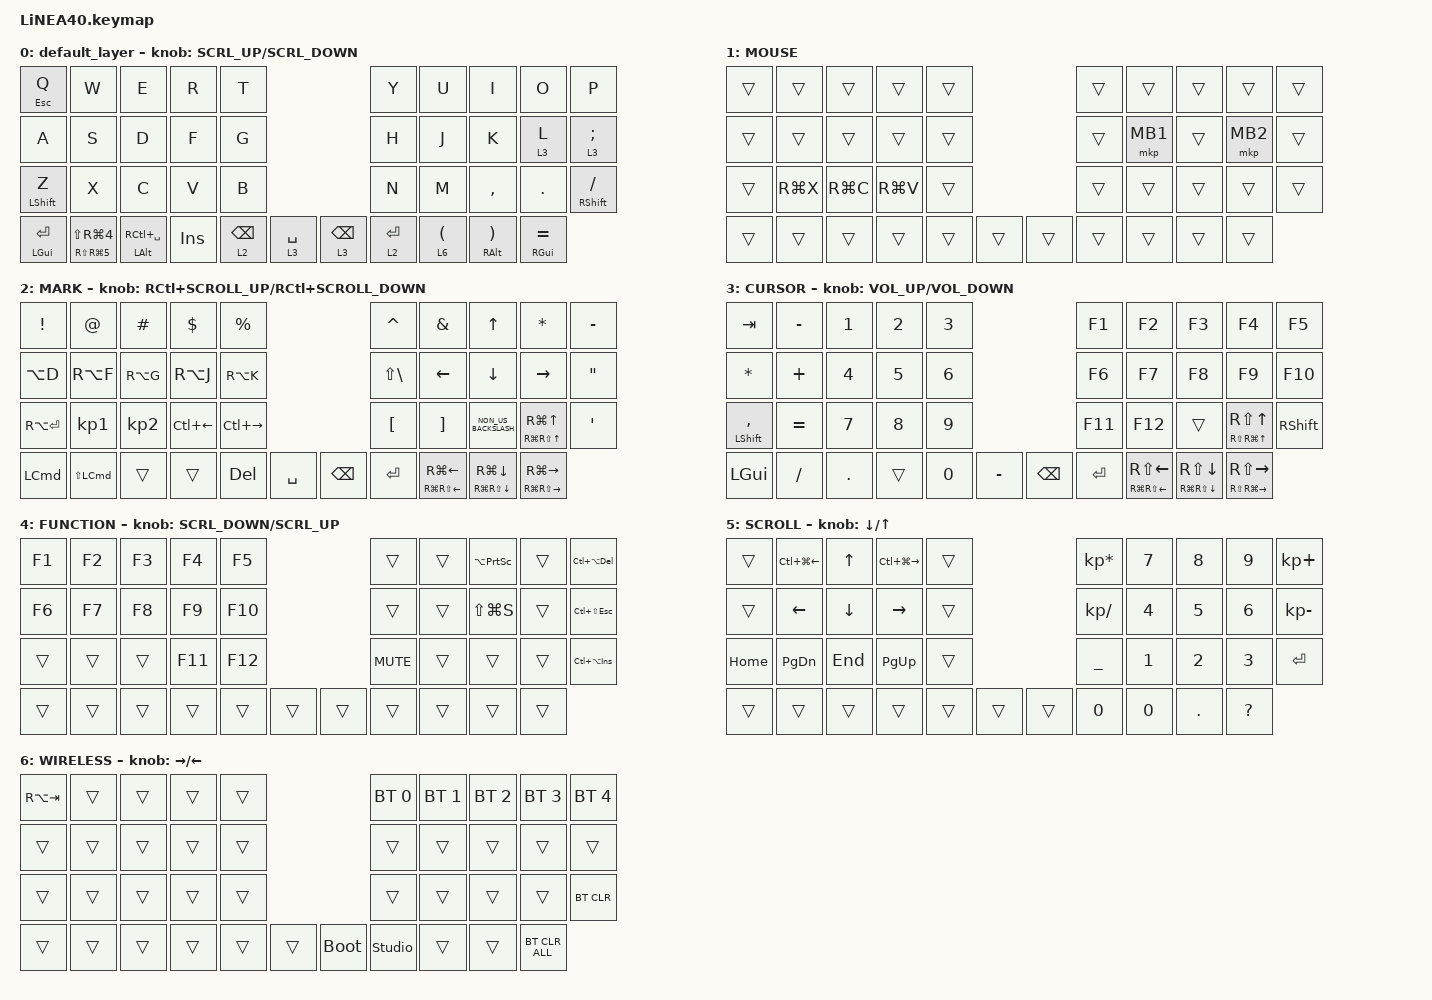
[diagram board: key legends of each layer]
#define ZMK_POINTING_DEFAULT_SCRL_VAL 150

#include <dt-bindings/zmk/input_transform.h>
#include <input/processors.dtsi>
#include <zephyr/dt-bindings/input/input-event-codes.h>
#include <behaviors.dtsi>
#include <dt-bindings/zmk/bt.h>
#include <dt-bindings/zmk/keys.h>
#include <dt-bindings/zmk/pointing.h>

#define MOUSE 1
#define MARK 2
#define CURSOR 3
#define FUNCTION 4
#define SCROLL 5
#define WIRELESS 6

//mouse cursol

&mmv {
    delay-ms = <20>;
    trigger-period-ms = <5>;
    time-to-max-speed-ms = <100>;
    acceleration-exponent = <2>;
};

//mouse scroll

&msc {
    delay-ms = <3>;
    trigger-period-ms = <3>;
    time-to-max-speed-ms = <100>;
    acceleration-exponent = <0>;
};

&mt {
    tapping-term-ms = <180>;
    flavor = "tap-preferred";
};

/ {
    input_processors {
        zip_wheel_scaler: zip_wheel_scaler {
            compatible = "zmk,input-processor-scaler";
            #input-processor-cells = <2>;
            type = <INPUT_EV_REL>;
            codes = <INPUT_REL_WHEEL>;
            track-remainders;
        };
    };
};

&msc_input_listener {
    speed_up {
        layers = <FUNCTION>;
        input-processors = <&zip_wheel_scaler 3 1>; //スクロールを3倍速にする
    };
};

&trackball_listener {
    cursor_scroller {
        layers = <CURSOR>;
        input-processors =
            <&zip_xy_transform INPUT_TRANSFORM_Y_INVERT>,
            <&zip_xy_to_scroll_mapper>;
    };

    function_scroller {
        layers = <FUNCTION>;
        input-processors = <&zip_xy_to_scroll_mapper>;
    };

    scroller {
        layers = <SCROLL>;
        input-processors =
            <&zip_xy_transform INPUT_TRANSFORM_Y_INVERT>,
            //スクロール方向を逆転,,,,,,,,,,,,,,,,,,,,,,,,,,,,,,,,,,,,,,,,,
            <&zip_xy_to_scroll_mapper>;
    };
};

/ {
    combos {
        compatible = "zmk,combos";

        leftClick {
            bindings = <&mkp MB1>;
            key-positions = <17 16>;
        };

        Center {
            bindings = <&kp LC(UP_ARROW)>;
            key-positions = <6 7>;
        };

        rightClick {
            bindings = <&mkp MB2>;
            key-positions = <17 18>;
        };

        bar {
            bindings = <&kp MINUS>;
            key-positions = <8 9>;
        };

        voiceCommand {
            bindings = <&kp F13>;
            key-positions = <13 12>;
        };

        esc {
            bindings = <&kp ESCAPE>;
            key-positions = <0 1>;
        };

        ctrl_space {
            bindings = <&kp LC(SPACE)>;
            key-positions = <13 34>;
        };

        cmd_space {
            bindings = <&kp RG(SPACE)>;
            key-positions = <13 35>;
        };

        N_Voice_Command {
            bindings = <&kp RG(LC(C_VOICE_COMMAND))>;
            key-positions = <34 23>;
        };

        tab {
            bindings = <&kp TAB>;
            key-positions = <10 11>;
        };

        back {
            bindings = <&mkp MB4>;
            key-positions = <15 16>;
        };

        next {
            bindings = <&mkp MB5>;
            key-positions = <5 6>;
        };

        Copy {
            bindings = <&kp RG(C)>;
            key-positions = <16 17 18>;
        };

        Paste {
            bindings = <&kp RG(P)>;
            key-positions = <11 12 12 13>;
        };
    };

    behaviors {
        re_kp: sensor_rotate_kp {
            compatible = "zmk,behavior-sensor-rotate-var";
            #sensor-binding-cells = <2>;
            bindings = <&kp>, <&kp>;
        };

        mouse_scrl: mouse_wheel_scrl {
            compatible = "zmk,behavior-sensor-rotate-var";
            #sensor-binding-cells = <2>;
            bindings = <&msc>, <&msc>;

            tap-ms = <20>;
        };
    };

    keymap {
        compatible = "zmk,keymap";

        default_layer {
            bindings = <
&mt ESCAPE Q        &kp W                                  &kp E                   &kp R    &kp T                                            &kp Y        &kp U  &kp I                   &kp O                            &kp P
&kp A               &kp S                                  &kp D                   &kp F    &kp G                                            &kp H        &kp J  &kp K                   &lt 3 L                          &lt 3 SEMICOLON
&mt LEFT_SHIFT Z    &kp X                                  &kp C                   &kp V    &kp B                                            &kp N        &kp M  &kp COMMA               &kp DOT                          &mt RIGHT_SHIFT SLASH
&mt LEFT_GUI ENTER  &mt RS(RG(NUMBER_5)) LS(RG(NUMBER_4))  &mt LEFT_ALT RC(SPACE)  &kp INS  &lt 2 BACKSPACE  &lt 3 SPACE    &lt 3 BACKSPACE  &lt 2 ENTER         &lt 6 LEFT_PARENTHESIS  &mt RIGHT_ALT RIGHT_PARENTHESIS  &mt RIGHT_GUI EQUAL
            >;

            sensor-bindings = <&mouse_scrl SCRL_UP SCRL_DOWN>;
        };

        //1

        MOUSE {
            bindings = <
&trans  &trans     &trans     &trans     &trans                    &trans  &trans    &trans  &trans    &trans
&trans  &trans     &trans     &trans     &trans                    &trans  &mkp MB1  &trans  &mkp MB2  &trans
&trans  &kp RG(X)  &kp RG(C)  &kp RG(V)  &trans                    &trans  &trans    &trans  &trans    &trans
&trans  &trans     &trans     &trans     &trans  &trans    &trans  &trans            &trans  &trans    &trans
            >;
        };

        //2

        MARK {
            bindings = <
&kp EXCLAMATION   &kp AT                &kp HASH         &kp DOLLAR          &kp PERCENT                                &kp CARET          &kp AMPERSAND      &kp UP_ARROW               &kp STAR                               &kp MINUS
&kp LA(D)         &kp RA(F)             &kp RA(G)        &kp RA(J)           &kp RA(K)                                  &kp LS(BACKSLASH)  &kp LEFT           &kp DOWN_ARROW             &kp RIGHT                              &kp DQT
&kp RA(ENTER)     &kp KP_NUMBER_1       &kp KP_NUMBER_2  &kp LC(LEFT_ARROW)  &kp LC(RIGHT)                              &kp LEFT_BRACKET   &kp RIGHT_BRACKET  &kp NON_US_BACKSLASH       &mt RG(RS(UP_ARROW)) RG(UP_ARROW)      &kp SQT
&kp LEFT_COMMAND  &kp LS(LEFT_COMMAND)  &trans           &trans              &kp DELETE     &kp SPACE    &kp BACKSPACE  &kp ENTER                             &mt RG(RS(LEFT)) RG(LEFT)  &mt RG(RS(DOWN_ARROW)) RG(DOWN_ARROW)  &mt RG(RS(RIGHT)) RG(RIGHT)
            >;

            sensor-bindings = <&inc_dec_kp RC(K_SCROLL_UP) RC(K_SCROLL_DOWN)>;
        };

        //3

        CURSOR {
            bindings = <
&kp TAB               &kp MINUS  &kp NUMBER_1  &kp NUMBER_2  &kp NUMBER_3                              &kp F1     &kp F2   &kp F3                                 &kp F4                             &kp F5
&kp ASTERISK          &kp PLUS   &kp NUMBER_4  &kp N5        &kp NUMBER_6                              &kp F6     &kp F7   &kp F8                                 &kp F9                             &kp F10
&mt LEFT_SHIFT COMMA  &kp EQUAL  &kp N7        &kp N8        &kp N9                                    &kp F11    &kp F12  &trans                                 &mt RS(RG(UP_ARROW)) RS(UP_ARROW)  &kp RIGHT_SHIFT
&kp LEFT_GUI          &kp SLASH  &kp PERIOD    &trans        &kp NUMBER_0  &kp MINUS    &kp BACKSPACE  &kp ENTER           &mt RG(RS(LEFT_ARROW)) RS(LEFT_ARROW)  &mt RG(RS(DOWN_ARROW)) RS(DOWN)    &mt RS(RG(RIGHT)) RS(RIGHT)
            >;

            sensor-bindings = <&inc_dec_kp C_VOLUME_UP C_VOLUME_DOWN>;
        };

        //4

        FUNCTION {
            bindings = <
&kp F1  &kp F2  &kp F3  &kp F4   &kp F5                     &trans      &trans  &kp LA(PRINTSCREEN)  &trans  &kp LC(LA(DELETE))
&kp F6  &kp F7  &kp F8  &kp F9   &kp F10                    &trans      &trans  &kp LS(LG(S))        &trans  &kp LC(LS(ESCAPE))
&trans  &trans  &trans  &kp F11  &kp F12                    &kp C_MUTE  &trans  &trans               &trans  &kp LC(LA(INS))
&trans  &trans  &trans  &trans   &trans   &trans    &trans  &trans              &trans               &trans  &trans
            >;

            sensor-bindings = <&mouse_scrl SCRL_DOWN SCRL_UP>;
        };

        //5

        SCROLL {
            bindings = <
&trans    &kp LC(LG(LEFT_ARROW))  &kp UP_ARROW  &kp LC(LG(RIGHT_ARROW))  &trans                    &kp KP_MULTIPLY  &kp NUMBER_7  &kp NUMBER_8  &kp NUMBER_9  &kp KP_PLUS
&trans    &kp LEFT_ARROW          &kp DOWN      &kp RIGHT_ARROW          &trans                    &kp KP_SLASH     &kp NUMBER_4  &kp NUMBER_5  &kp NUMBER_6  &kp KP_MINUS
&kp HOME  &kp PAGE_DOWN           &kp END       &kp PAGE_UP              &trans                    &kp UNDER        &kp NUMBER_1  &kp NUMBER_2  &kp NUMBER_3  &kp ENTER
&trans    &trans                  &trans        &trans                   &trans  &trans    &trans  &kp NUMBER_0                   &kp NUMBER_0  &kp DOT       &kp QUESTION
            >;

            sensor-bindings = <&inc_dec_kp DOWN_ARROW UP_ARROW>;
        };

        //6

        WIRELESS {
            bindings = <
&kp RA(TAB)  &trans  &trans  &trans  &trans                         &bt BT_SEL 0    &bt BT_SEL 1  &bt BT_SEL 2  &bt BT_SEL 3  &bt BT_SEL 4
&trans       &trans  &trans  &trans  &trans                         &trans          &trans        &trans        &trans        &trans
&trans       &trans  &trans  &trans  &trans                         &trans          &trans        &trans        &trans        &bt BT_CLR
&trans       &trans  &trans  &trans  &trans  &trans    &bootloader  &studio_unlock                &trans        &trans        &bt BT_CLR_ALL
            >;

            sensor-bindings = <&inc_dec_kp RIGHT_ARROW LEFT_ARROW>;
        };
    };
};
